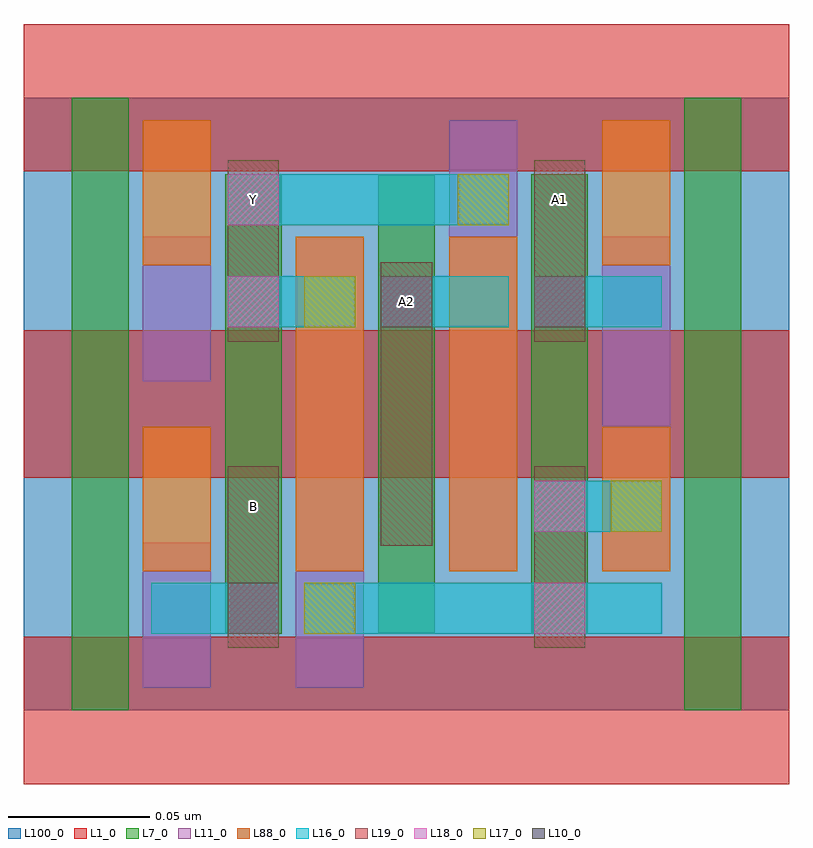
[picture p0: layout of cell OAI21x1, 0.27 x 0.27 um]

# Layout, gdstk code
import gdstk
lib = gdstk.Library(unit=1e-6, precision=2.5e-10)
def R(c, l, rs):  # rectangles x0, y0, x1, y1
    for r in rs: c.add(gdstk.rectangle(r[:2], r[2:], *l))
def A(c, l, x, y, w, h, nx, ny, dx, dy):  # array of equal rectangles
    R(c, l, [(x+i*dx, y+j*dy, x+i*dx+w, y+j*dy+h) for i in range(nx) for j in range(ny)])
L1_0 = (1, 0)
L7_0 = (7, 0)
L10_0 = (10, 0)
L11_0 = (11, 0)
L16_0 = (16, 0)
L17_0 = (17, 0)
L18_0 = (18, 0)
L19_0 = (19, 0)
L88_0 = (88, 0)
L100_0 = (100, 0)

oai21x1 = lib.new_cell('OAI21x1')
A(oai21x1, L1_0, 0, -0.026, 0.27, 0.052, 1, 3, 0, 0.108)
A(oai21x1, L7_0, 0.071, 0.027, 0.02, 0.081, 3, 2, 0.054, 0.081)
R(oai21x1, L7_0, [(0.017,0,0.037,0.108), (0.233,0,0.253,0.108), (0.017,0.108,0.037,0.216), (0.233,0.108,0.253,0.216)])
R(oai21x1, L10_0, [(0.072,0.027,0.09,0.045), (0.126,0.135,0.144,0.153), (0.18,0.135,0.198,0.153)])
R(oai21x1, L11_0, [(0.042,0.008,0.066,0.059), (0.096,0.008,0.12,0.108), (0.15,0.049,0.174,0.108), (0.204,0.049,0.228,0.108), (0.096,0.108,0.12,0.167), (0.15,0.108,0.174,0.208), (0.204,0.108,0.228,0.167), (0.042,0.116,0.066,0.167)])
A(oai21x1, L16_0, 0.072, 0.135, 0.045, 0.018, 3, 1, 0.054, 0)
R(oai21x1, L16_0, [(0.045,0.027,0.09,0.045), (0.099,0.027,0.225,0.045), (0.18,0.063,0.225,0.081), (0.072,0.171,0.171,0.189)])
R(oai21x1, L17_0, [(0.099,0.027,0.117,0.045), (0.207,0.063,0.225,0.081), (0.099,0.135,0.117,0.153), (0.153,0.171,0.171,0.189)])
A(oai21x1, L18_0, 0.072, 0.135, 0.018, 0.018, 3, 1, 0.054, 0)
R(oai21x1, L18_0, [(0.072,0.027,0.09,0.045), (0.18,0.027,0.198,0.045), (0.18,0.063,0.198,0.081), (0.072,0.171,0.09,0.189)])
R(oai21x1, L19_0, [(0.072,0.022,0.09,0.086), (0.18,0.022,0.198,0.086), (0.126,0.058,0.144,0.158), (0.072,0.13,0.09,0.194), (0.18,0.13,0.198,0.194)])
R(oai21x1, L88_0, [(0.042,0.049,0.066,0.1), (0.096,0.049,0.12,0.108), (0.15,0.049,0.174,0.108), (0.204,0.049,0.228,0.1), (0.096,0.108,0.12,0.167), (0.15,0.108,0.174,0.167), (0.042,0.157,0.066,0.208), (0.204,0.157,0.228,0.208)])
R(oai21x1, L100_0, [(0,0,0.27,0.216)])
oai21x1.add(gdstk.Label('A1', (0.189,0.18), layer=19, texttype=251))
oai21x1.add(gdstk.Label('A2', (0.135,0.144), layer=19, texttype=251))
oai21x1.add(gdstk.Label('B', (0.081,0.072), layer=19, texttype=251))
oai21x1.add(gdstk.Label('Y', (0.081,0.18), layer=19, texttype=251))

lib.write_gds('OAI21x1.gds')
